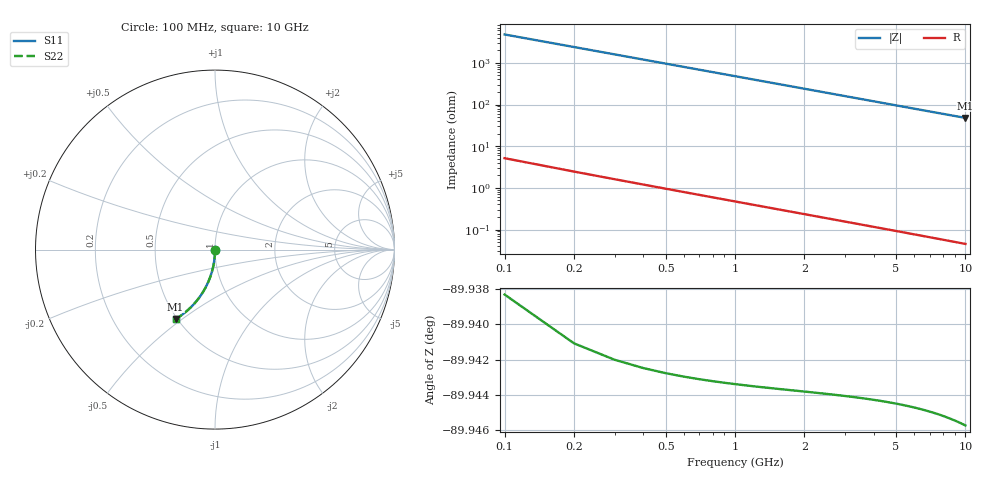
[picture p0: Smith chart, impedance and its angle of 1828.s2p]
# Hz S RI R 50.00
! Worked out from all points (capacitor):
!   100 points, 100 MHz to 10 GHz, reference 50 ohm
!   read as one part in shunt: C = 332 fF near 100 MHz
!   lowest |Z| = 47.7 ohm at 10 GHz (marker M1)
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1e8  3.58e-05 -0.00496  0.9999 -0.00549  0.9999 -0.00549  3.58e-05 -0.00496
2e8  -5.04e-05 -0.00991  0.9998 -0.011  0.9998 -0.011  -5.04e-05 -0.00991
3e8  -0.000191 -0.0149  0.9997 -0.0165  0.9997 -0.0165  -0.000191 -0.0149
4e8  -0.000386 -0.0198  0.9995 -0.0219  0.9995 -0.0219  -0.000386 -0.0198
5e8  -0.000636 -0.0248  0.9992 -0.0274  0.9992 -0.0274  -0.000636 -0.0248
6e8  -0.000939 -0.0297  0.9989 -0.0329  0.9989 -0.0329  -0.000939 -0.0297
7e8  -0.0013 -0.0347  0.9986 -0.0384  0.9986 -0.0384  -0.0013 -0.0347
8e8  -0.00171 -0.0396  0.9981 -0.0438  0.9981 -0.0438  -0.00171 -0.0396
9e8  -0.00218 -0.0445  0.9977 -0.0493  0.9977 -0.0493  -0.00218 -0.0445
1.1e9  -0.00327 -0.0544  0.9966 -0.0602  0.9966 -0.0602  -0.00327 -0.0544
1.4e9  -0.00531 -0.0691  0.9945 -0.0765  0.9945 -0.0765  -0.00531 -0.0691
1.8e9  -0.00878 -0.0885  0.991 -0.098  0.991 -0.098  -0.00878 -0.0885
2.1e9  -0.0119 -0.103  0.9879 -0.1141  0.9879 -0.1141  -0.0119 -0.103
2.5e9  -0.0168 -0.122  0.9829 -0.1353  0.9829 -0.1353  -0.0168 -0.122
2.9e9  -0.0226 -0.1408  0.9772 -0.1561  0.9772 -0.1561  -0.0226 -0.1408
3.4e9  -0.0308 -0.1637  0.9689 -0.1817  0.9689 -0.1817  -0.0308 -0.1637
4.2e9  -0.0464 -0.199  0.9532 -0.2214  0.9532 -0.2214  -0.0464 -0.199
5.1e9  -0.0671 -0.2365  0.9324 -0.2637  0.9324 -0.2637  -0.0671 -0.2365
5.9e9  -0.088 -0.2675  0.9114 -0.299  0.9114 -0.299  -0.088 -0.2675
6.7e9  -0.1109 -0.2961  0.8883 -0.332  0.8883 -0.332  -0.1109 -0.2961
8.4e9  -0.1648 -0.3484  0.834 -0.3936  0.834 -0.3936  -0.1648 -0.3484
1e10  -0.2195 -0.3869  0.7789 -0.441  0.7789 -0.441  -0.2195 -0.3869
